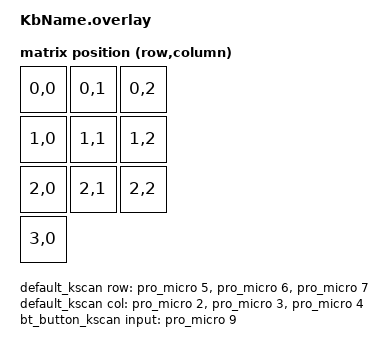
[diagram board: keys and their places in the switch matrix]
#include <dt-bindings/zmk/matrix_transform.h>

/ {
    chosen {
        zmk,kscan = &default_composite;
        zmk,matrix_transform = &default_transform;
    };
    default_kscan: kscan {
        compatible = "zmk,kscan-gpio-matrix";
        label = "default_kscan";
        diode-direction = "col2row";

        row-gpios = <&pro_micro 5 (GPIO_ACTIVE_HIGH | GPIO_PULL_DOWN)>,
            <&pro_micro 6 (GPIO_ACTIVE_HIGH | GPIO_PULL_DOWN)>,
            <&pro_micro 7 (GPIO_ACTIVE_HIGH | GPIO_PULL_DOWN)>;

        col-gpios = <&pro_micro 2 (GPIO_ACTIVE_HIGH | GPIO_PULL_DOWN)>,
            <&pro_micro 3 (GPIO_ACTIVE_HIGH | GPIO_PULL_DOWN)>,
            <&pro_micro 4 (GPIO_ACTIVE_HIGH | GPIO_PULL_DOWN)>;
    };
    // standalone bluetooth button driver
    bt_button_kscan: kscan_bt {
        compatible = "zmk,kscan-gpio-direct";
        wakeup-source;
        input-gpios = <&pro_micro 9 (GPIO_ACTIVE_LOW | GPIO_PULL_UP)>;
    };

    // combining the main matrix and the bt button
    kscan_composite: kscan_composite {
        compatible = "zmk,kscan-composite";
        rows = <4>;    // Expanded to 4 rows to accommodate the extra button row
        columns = <3>;

        matrix {
            kscan = <&default_kscan>;
        };

        // appends the button as virtual row 3, column 0
        bt_key {
            kscan = <&bt_button_kscan>;
            row-offset = <3>; 
            col-offset = <0>;
        };
    };

    default_transform: matrix_transform {
        compatible = "zmk,matrix-transform";
        rows = <4>;
        columns = <3>;

        map = <
            RC(0,0) RC(0,1) RC(0,2)
            RC(1,0) RC(1,1) RC(1,2)
            RC(2,0) RC(2,1) RC(2,2)
            RC(3,0)  
        >;
    };
};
